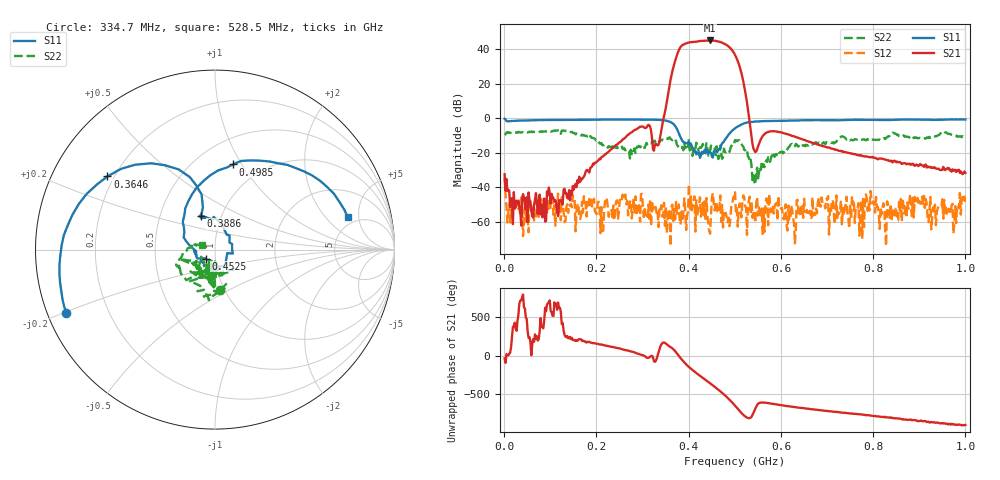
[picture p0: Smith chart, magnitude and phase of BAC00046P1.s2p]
!measured: 2026-10-27T15:08:42
!cal_instance: BBtestOct27
!cal_created: 2026-10-27T14:45
!cal_file: BBtesting.cal
!port1_delay_ps: -58.63
!port2_delay_ps: -59.31
!host: dhcp-10-250-247-203.harvard.edu
! Created with skrf 2.1.0 (http://scikit-rf.org).
# Hz S RI R 50.0
!freq ReS11 ImS11 ReS21 ImS21 ReS12 ImS12 ReS22 ImS22
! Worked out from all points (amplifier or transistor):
!   501 points, 1 MHz to 1 GHz, reference 50 ohm
!   highest |S21| = 45.2 dB at 446.6 MHz (marker M1)
!   |S21| within 3 dB of that: 385.1 MHz to 484.4 MHz (99.29 MHz wide, 22.8 % of centre)
!   unconditionally stable (mu >= 1): start of sweep to 399.8 MHz; 468.7 MHz to 499 MHz; 500.7 MHz to end of sweep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
!   at 166.8 MHz: K = 2979.67, MAG = -27.2 dB, |S12| = -56.2 dB
!   at 500.5 MHz: K = 0.88, MSG = 39.6 dB, |S12| = -42.3 dB
!   at 1 GHz: K = 834.79, MAG = -22.9 dB, |S12| = -50.4 dB
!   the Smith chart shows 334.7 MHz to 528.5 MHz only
!   S11 on the Smith chart (normalised r, x): 334.7 MHz: 0.05, -0.20; 364.6 MHz: 0.17, +0.30; 388.6 MHz: 0.80, +0.31; 452.5 MHz: 0.90, -0.09; 498.5 MHz: 0.74, +0.92; 528.5 MHz: 4.21, +3.59
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1000000  -0.4211 0.8715  0.0198 -0.0133  -0.0172 0.00924  0.3243 -0.0491
1.68832e8  0.4986 -0.7575  -0.0165 -0.00395  -0.0032 -0.00207  -0.0261 -0.3348
3.34666e8  -0.8275 -0.3547  0.1246 0.114  0.000417 0.000566  0.0287 -0.2263
3.64636e8  -0.5999 0.4073  -3.233 22.68  0.000512 -0.00308  -0.062 -0.2239
3.72628e8  -0.2798 0.4703  38.15 40.98  0.00319 -0.00198  -0.1405 -0.1766
3.8062e8  -0.0748 0.3072  102.6 -28.76  -0.000995 0.000502  -0.0961 -0.107
3.88612e8  -0.0786 0.1886  42.96 -130.8  0.00111 0.00167  -0.0979 -0.0672
3.96604e8  -0.0565 0.1774  -81.6 -128.9  -0.00113 -0.000946  -0.106 -0.0663
4.1059e8  0.0508 0.1125  -159.5 40.58  -0.00389 0.000635  -0.0092 -0.1379
4.28572e8  0.0524 -0.0925  18.52 174.2  0.00232 -0.001  0.0149 -0.1493
4.46554e8  -0.0809 -0.0649  180.5 12.91  0.000341 0.000293  -0.0338 -0.1085
4.52548e8  -0.0525 -0.05  164.2 -70.57  -0.0063 0.00257  0.1042 -0.1083
4.66534e8  -0.1294 0.0217  0.7755 -166.5  0.00157 -0.00175  7.8e-05 -0.0827
4.78522e8  -0.1795 0.1543  -124.8 -69.14  -0.00162 -0.000265  -0.013 -0.1074
4.9051e8  -0.0655 0.381  -82.04 70.39  0.00123 0.000163  -0.0376 -0.1274
4.98502e8  0.1001 0.4743  2.548 77.33  -0.00326 -0.00386  -0.1052 -0.1423
5.005e8  0.145 0.4941  18.23 66.76  -0.00704 0.003  -0.1594 -0.1699
5.12488e8  0.4469 0.4554  25.53 -3.547  0.00138 0.0018  -0.1864 -0.0412
5.28472e8  0.7398 0.1794  0.1358 -1.87  -0.00131 -0.00263  -0.075 0.0254
6.68332e8  0.0727 -0.8759  0.1747 0.0858  -0.00246 0.00447  0.032 -0.1701
8.34166e8  -0.584 -0.6778  0.00917 -0.0576  0.000187 -0.00163  -0.1821 -0.2393
1e9  -0.8851 -0.2705  -0.0259 -0.00176  0.00297 -0.000537  -0.2426 -0.1716
